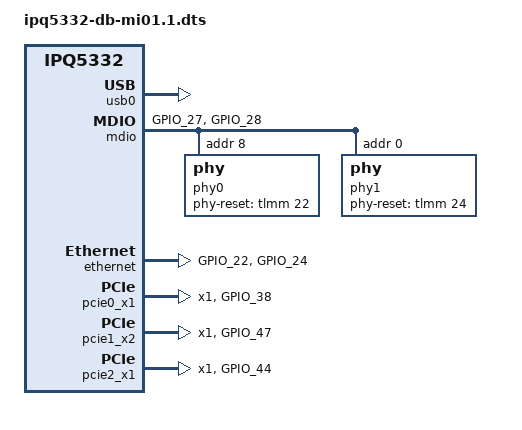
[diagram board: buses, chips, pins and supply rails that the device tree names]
// SPDX-License-Identifier: GPL-2.0-only
/*
* Copyright (c) 2023, Qualcomm Innovation Center, Inc. All rights reserved.
*/

#include "ipq5332-default.dts"

/ {
	config_name = "config@db-mi01.1", "config-db-mi01.1";

	soc: soc {
		tlmm: pinctrl@1000000 {
			mdio_pinmux: mdio {
				mdc {
					pins = "GPIO_27";
					function = "mdc_1";
					drive-strength = <DRIVE_STRENGTH_8MA>;
					bias-disable;
				};

				mdio {
					pins = "GPIO_28";
					function = "mdio_1";
					drive-strength = <DRIVE_STRENGTH_8MA>;
					bias-pull-up;
				};
			};

			phy_rst_pinmux: phy_rst {
				qti_aquantia_p1_rst {
					pins = "GPIO_22";
					drive-strength = <DRIVE_STRENGTH_8MA>;
					bias-pull-up;
				};

				qti_aquantia_p2_rst {
					pins = "GPIO_24";
					drive-strength = <DRIVE_STRENGTH_8MA>;
					bias-pull-up;
				};
			};

			pcie0_x1_pinmux: pci_pins {
				pci_rst {
					pins = "GPIO_38";
					drive-strength = <DRIVE_STRENGTH_8MA>;
					bias-pull-up;
				};
			};

			pcie1_x2_pinmux: pci_pins {
				pci_rst {
					pins = "GPIO_47";
					drive-strength = <DRIVE_STRENGTH_8MA>;
					bias-pull-up;
				};
			};

			pcie2_x1_pinmux: pci_pins {
				pci_rst {
					pins = "GPIO_44";
					drive-strength = <DRIVE_STRENGTH_8MA>;
					bias-pull-up;
				};
			};
		};

		hs_m31phy_0: hs_m31phy@7b000 {
			status = "okay";
		};

		usb0: usb@8af8800 {
			qti,select-utmi-as-pipe-clk;
			status = "okay";

			dwc3@8a00000 {
				phys = <&hs_m31phy_0>;
				phy-names = "usb2-phy";
				maximum-speed = "high-speed";
			};
		};

		mdio: mdio@90000 {
			pinctrl-names = "default";
			pinctrl-0 = <&mdio_pinmux>;
			status = "okay";

			phy0: phy@8 {
				phy-reset-gpio = <&tlmm 22 0>;
				reg = <8>;
				phy_id = <AQ_PHY_TYPE>;
				phy-mode = "usxgmii";
				id = <1>;
				uniphy_id = <0>;
				uniphy_type = <0>;
				xgmac;
			};

			phy1: phy@0 {
				phy-reset-gpio = <&tlmm 24 0>;
				reg = <0>;
				phy_id = <AQ_PHY_TYPE>;
				phy-mode = "usxgmii";
				id = <2>;
				uniphy_id = <1>;
				uniphy_type = <0>;
				xgmac;
			};
		};

		ethernet: nss-switch {
			pinctrl-names = "default";
			pinctrl-0 = <&phy_rst_pinmux>;
			phy-handle0 = <&phy0>;
			phy-handle1 = <&phy1>;
			status = "okay";
		};

		pcie0_x1: pci@20000000{
			pinctrl-names = "default";
			pinctrl-0 = <&pcie0_x1_pinmux>;
			num-lanes = <1>;
			perst_gpio = <&tlmm 38 0>;
			status = "okay";
		};

		pcie1_x2: pci@18000000 {
			pinctrl-names = "default";
			pinctrl-0 = <&pcie1_x2_pinmux>;
			num-lanes = <1>;
			perst_gpio = <&tlmm 47 0>;
			status = "okay";
		};

		pcie2_x1: pci@10000000 {
			pinctrl-names = "default";
			pinctrl-0 = <&pcie2_x1_pinmux>;
			num-lanes = <1>;
			perst_gpio = <&tlmm 44 0>;
			status = "okay";
		};
	};
};
